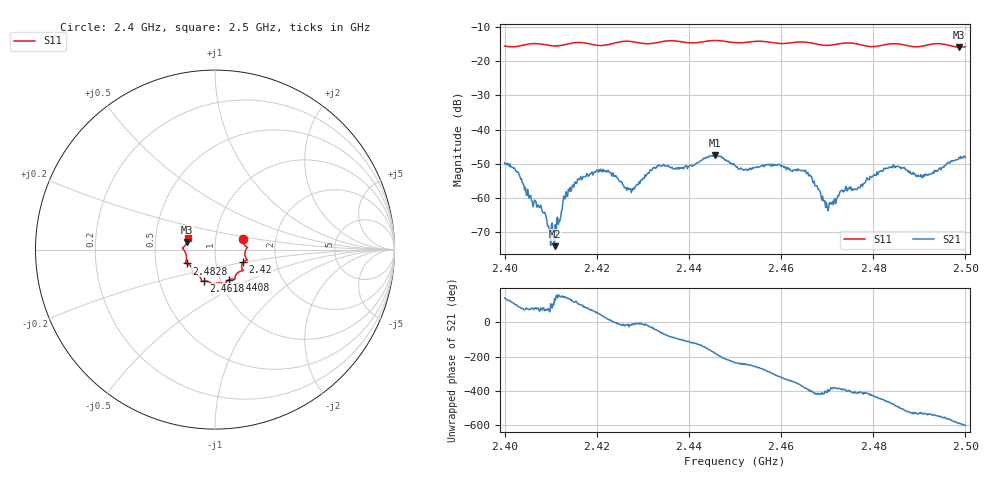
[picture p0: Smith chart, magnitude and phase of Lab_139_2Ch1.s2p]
# Hz S RI R 50
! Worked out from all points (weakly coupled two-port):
!   601 points, 2.4 GHz to 2.5 GHz, reference 50 ohm
!   highest |S21| = -47.52 dB at 2.4457 GHz (marker M1); lowest = -74.2 dB at 2.4108 GHz (marker M2)
!   lowest |S11| = -15.9 dB at 2.4987 GHz (marker M3), VSWR 1.38, Z = 36.5 + j3.22 ohm
!   |S11| at or under -10 dB: start of sweep to end of sweep
!   S12 and S22 are empty: the file has one direction only
!   S11 on the Smith chart (normalised r, x): 2.4 GHz: 1.35, +0.17; 2.42 GHz: 1.36, -0.19; 2.4408 GHz: 1.10, -0.38; 2.4618 GHz: 0.84, -0.30; 2.4828 GHz: 0.72, -0.11; 2.5 GHz: 0.73, +0.09
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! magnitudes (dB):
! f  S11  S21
! 2.4 GHz  -15.6  -49.7
! 2.4027 GHz  -15.7  -52.5
! 2.4058 GHz  -14.9  -60.8
! 2.4083 GHz  -15.0  -64.3
! 2.4103 GHz  -15.5  -67.4
! 2.4108 GHz  -15.5  -74.2
! 2.4133 GHz  -15.0  -58.2
! 2.4167 GHz  -14.5  -54.7
! 2.42 GHz  -15.3  -52.0
! 2.4273 GHz  -14.2  -57.4
! 2.4333 GHz  -14.5  -50.6
! 2.4408 GHz  -14.6  -50.7
! 2.4457 GHz  -13.9  -47.5
! 2.45 GHz  -14.6  -50.6
! 2.4618 GHz  -14.6  -51.5
! 2.4667 GHz  -14.7  -53.9
! 2.4702 GHz  -15.4  -63.8
! 2.4828 GHz  -15.1  -51.3
! 2.4833 GHz  -15.0  -51.3
! 2.4903 GHz  -15.6  -53.2
! 2.4987 GHz  -15.9  -48.1
! 2.5 GHz  -15.7  -48.2
